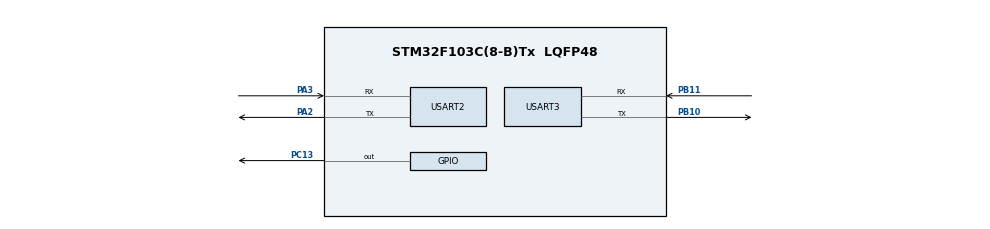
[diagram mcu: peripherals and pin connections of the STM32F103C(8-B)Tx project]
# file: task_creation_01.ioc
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Mcu.Family=STM32F1
Mcu.Name=STM32F103C(8-B)Tx
Mcu.Package=LQFP48
NVIC.PriorityGroup=NVIC_PRIORITYGROUP_4
NVIC.TIM4_IRQn=true\:15\:0\:false\:false\:true\:false\:true\:true
NVIC.TimeBase=TIM4_IRQn
NVIC.TimeBaseIP=TIM4
PA13.Mode=Serial_Wire
PA13.Signal=SYS_JTMS-SWDIO
PA14.Mode=Serial_Wire
PA14.Signal=SYS_JTCK-SWCLK
PA2.Mode=Asynchronous
PA2.Signal=USART2_TX
PA3.Mode=Asynchronous
PA3.Signal=USART2_RX
PB10.Mode=Asynchronous
PB10.Signal=USART3_TX
PB11.Mode=Asynchronous
PB11.Signal=USART3_RX
PC13-TAMPER-RTC.Signal=GPIO_Output
PD0-OSC_IN.Mode=HSE-External-Oscillator
PD0-OSC_IN.Signal=RCC_OSC_IN
PD1-OSC_OUT.Mode=HSE-External-Oscillator
PD1-OSC_OUT.Signal=RCC_OSC_OUT
ProjectManager.HeapSize=0x200
ProjectManager.StackSize=0x400
ProjectManager.TargetToolchain=STM32CubeIDE
RCC.APB1Freq_Value=8000000
RCC.APB2Freq_Value=8000000
USART2.VirtualMode=VM_ASYNC
USART3.VirtualMode=VM_ASYNC
VP_SYS_VS_tim4.Mode=TIM4
board=custom

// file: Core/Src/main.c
/* USER CODE BEGIN Header */
/**
  ******************************************************************************
  * @file           : main.c
  * @brief          : Main program body
  ******************************************************************************
  * @attention
  *
  * Copyright (c) 2026 STMicroelectronics.
  * All rights reserved.
  *
  * This software is licensed under terms that can be found in the LICENSE file
  * in the root directory of this software component.
  * If no LICENSE file comes with this software, it is provided AS-IS.
  *
  ******************************************************************************
  */
/* USER CODE END Header */
#include "main.h"

/* USER CODE BEGIN Includes */
#include "FreeRTOS.h"
#include "task.h"
/* USER CODE END Includes */

UART_HandleTypeDef huart2;
UART_HandleTypeDef huart3;

void SystemClock_Config(void);
static void MX_GPIO_Init(void);
static void MX_USART2_UART_Init(void);
static void MX_USART3_UART_Init(void);
/* USER CODE BEGIN PFP */
static void task1_handler(void *parameters);
static void task2_handler(void *parameters);
/* USER CODE END PFP */

int main(void)
{

  /* USER CODE BEGIN 1 */
	TaskHandle_t task1_handle;
	TaskHandle_t task2_handle;
	BaseType_t status;
  /* USER CODE END 1 */

  /* MCU Configuration--------------------------------------------------------*/

  /* Reset of all peripherals, Initializes the Flash interface and the Systick. */
  HAL_Init();

  /* Configure the system clock */
  SystemClock_Config();

  /* Initialize all configured peripherals */
  MX_GPIO_Init();
  MX_USART2_UART_Init();
  MX_USART3_UART_Init();
  /* USER CODE BEGIN 2 */
  status = xTaskCreate(task1_handler, "task1", 200, "Hello world from task 1", 2, &task1_handle);

  configASSERT(status == pdPASS);

  status = xTaskCreate(task2_handler, "task2", 200, "Hello world from task 2", 2, &task2_handle);

  configASSERT(status == pdPASS);

  //start the freertos schedular
  vTaskStartScheduler();

  // if the control comes here then the launch of the scheduler has failed due to insufficient library

  /* USER CODE END 2 */

  /* Infinite loop */
  while (1)
  {

    /* USER CODE BEGIN 3 */
	  HAL_GPIO_TogglePin(GPIOC, GPIO_PIN_13);
	  HAL_Delay(50);
  }
  /* USER CODE END 3 */
}

void SystemClock_Config(void)
{
  RCC_OscInitTypeDef RCC_OscInitStruct = {0};
  RCC_ClkInitTypeDef RCC_ClkInitStruct = {0};

  /** Initializes the RCC Oscillators according to the specified parameters
  * in the RCC_OscInitTypeDef structure.
  */
  RCC_OscInitStruct.OscillatorType = RCC_OSCILLATORTYPE_HSI;
  RCC_OscInitStruct.HSIState = RCC_HSI_ON;
  RCC_OscInitStruct.HSICalibrationValue = RCC_HSICALIBRATION_DEFAULT;
  RCC_OscInitStruct.PLL.PLLState = RCC_PLL_NONE;
  if (HAL_RCC_OscConfig(&RCC_OscInitStruct) != HAL_OK)
  {
    Error_Handler();
  }

  /** Initializes the CPU, AHB and APB buses clocks
  */
  RCC_ClkInitStruct.ClockType = RCC_CLOCKTYPE_HCLK|RCC_CLOCKTYPE_SYSCLK
                              |RCC_CLOCKTYPE_PCLK1|RCC_CLOCKTYPE_PCLK2;
  RCC_ClkInitStruct.SYSCLKSource = RCC_SYSCLKSOURCE_HSI;
  RCC_ClkInitStruct.AHBCLKDivider = RCC_SYSCLK_DIV1;
  RCC_ClkInitStruct.APB1CLKDivider = RCC_HCLK_DIV1;
  RCC_ClkInitStruct.APB2CLKDivider = RCC_HCLK_DIV1;

  if (HAL_RCC_ClockConfig(&RCC_ClkInitStruct, FLASH_LATENCY_0) != HAL_OK)
  {
    Error_Handler();
  }
}

static void MX_USART2_UART_Init(void)
{

  huart2.Instance = USART2;
  huart2.Init.BaudRate = 115200;
  huart2.Init.WordLength = UART_WORDLENGTH_8B;
  huart2.Init.StopBits = UART_STOPBITS_1;
  huart2.Init.Parity = UART_PARITY_NONE;
  huart2.Init.Mode = UART_MODE_TX_RX;
  huart2.Init.HwFlowCtl = UART_HWCONTROL_NONE;
  huart2.Init.OverSampling = UART_OVERSAMPLING_16;
  if (HAL_UART_Init(&huart2) != HAL_OK)
  {
    Error_Handler();
  }

}

static void MX_USART3_UART_Init(void)
{

  huart3.Instance = USART3;
  huart3.Init.BaudRate = 115200;
  huart3.Init.WordLength = UART_WORDLENGTH_8B;
  huart3.Init.StopBits = UART_STOPBITS_1;
  huart3.Init.Parity = UART_PARITY_NONE;
  huart3.Init.Mode = UART_MODE_TX_RX;
  huart3.Init.HwFlowCtl = UART_HWCONTROL_NONE;
  huart3.Init.OverSampling = UART_OVERSAMPLING_16;
  if (HAL_UART_Init(&huart3) != HAL_OK)
  {
    Error_Handler();
  }

}

static void MX_GPIO_Init(void)
{
  GPIO_InitTypeDef GPIO_InitStruct = {0};

  /* GPIO Ports Clock Enable */
  __HAL_RCC_GPIOC_CLK_ENABLE();
  __HAL_RCC_GPIOD_CLK_ENABLE();
  __HAL_RCC_GPIOA_CLK_ENABLE();
  __HAL_RCC_GPIOB_CLK_ENABLE();

  /*Configure GPIO pin Output Level */
  HAL_GPIO_WritePin(GPIOC, GPIO_PIN_13, GPIO_PIN_RESET);

  /*Configure GPIO pin : PC13 */
  GPIO_InitStruct.Pin = GPIO_PIN_13;
  GPIO_InitStruct.Mode = GPIO_MODE_OUTPUT_PP;
  GPIO_InitStruct.Pull = GPIO_NOPULL;
  GPIO_InitStruct.Speed = GPIO_SPEED_FREQ_LOW;
  HAL_GPIO_Init(GPIOC, &GPIO_InitStruct);

}

/* USER CODE BEGIN 4 */
static void task1_handler(void *parameters){
	while(1){
		//printf("%s\n",(char* )parameters);
		HAL_UART_Transmit(&huart2, "H", 1, HAL_MAX_DELAY);
		taskYIELD();
	}
}
static void task2_handler(void *parameters){
	while(1){
		HAL_UART_Transmit(&huart2, "w", 1, HAL_MAX_DELAY);
		taskYIELD();
	}
}
/* USER CODE END 4 */

void HAL_TIM_PeriodElapsedCallback(TIM_HandleTypeDef *htim)
{
  if (htim->Instance == TIM4) {
    HAL_IncTick();
  }
}

void Error_Handler(void)
{
  __disable_irq();
  while (1)
  {
  }
}
